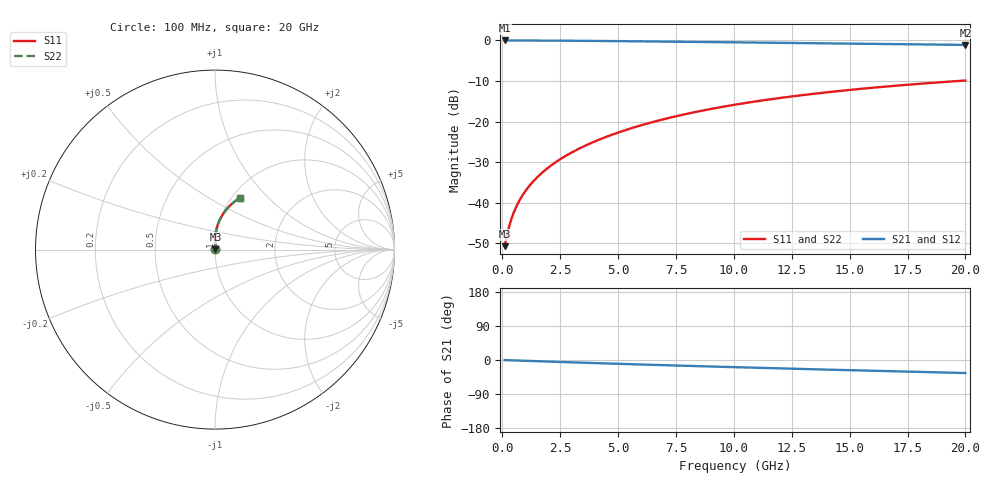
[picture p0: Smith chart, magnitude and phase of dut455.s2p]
! Touchstone file exported from HFSS 2024.1.0
!  File:  C:/UserFiles/LocalFiles/RDL_TSV_Batchsim/temp_RDL_top_455_1779677284.aedt
!  Generated:  10:50:34 AM May 25, 2026
!  Design:  RDL_top
!  Project:  temp_RDL_top_455_1779677284
!  Setup:  Setup1
!  Solution:  Sweep
! Variables:
!  dtsv = 10.80580581um
!  hbump = 3um
!  htsv = 89.49um
!  ldown = 100um
!  lrdl = 450.29um
!  p = 40
!  p1 = 59.46um
!  rhole = 1um
!  t = 450um
!  tdown = 3.915915916um
!  trdl = 2.62um
!  wdown = 15.38538539um
!  wrdl = 28.14um
# GHz S MA R 50.000000
! Terminal data exported
! Port[1] = Box2_T1
! Port[2] = Box2_T2
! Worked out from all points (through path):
!   200 points, 100 MHz to 20 GHz, reference 50 ohm
!   highest |S21| = -0.02 dB at 100 MHz (marker M1); lowest = -1.1 dB at 20 GHz (marker M2)
!   group delay of S21, straight-line fit = 4.72 ps
!   lowest |S11| = -50.7 dB at 100 MHz (marker M3), VSWR 1.01, Z = 50.2 + j0.152 ohm
!   |S11| at or under -10 dB: start of sweep to 19.73 GHz
!   |S22| runs from -50.7 to -9.9 dB; largest |S21 - S12| = 2.6e-15
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0.1  0.00291 31.2  0.9975 -0.2  0.9975 -0.2  0.00291 31.2
! Gamma 0 0 0 0
! Port Impedance 50 0 50 0
0.2  0.00394 49.0  0.9974 -0.4  0.9974 -0.4  0.00394 49.0
0.3  0.005143 58.3  0.9972 -0.7  0.9972 -0.7  0.005143 58.3
0.4  0.006381 63.9  0.997 -0.9  0.997 -0.9  0.006381 63.9
0.5  0.007622 67.7  0.9968 -1.1  0.9968 -1.1  0.007622 67.7
0.6  0.008866 70.6  0.9966 -1.3  0.9966 -1.3  0.008866 70.6
0.8  0.01137 74.7  0.9963 -1.7  0.9963 -1.7  0.01137 74.7
1.1  0.0152 78.8  0.9957 -2.3  0.9957 -2.3  0.0152 78.8
1.3  0.01781 80.7  0.9952 -2.7  0.9952 -2.7  0.01781 80.7
1.6  0.0218 82.7  0.9945 -3.4  0.9945 -3.4  0.0218 82.7
2.1  0.02864 85.1  0.9929 -4.4  0.9929 -4.4  0.02864 85.1
2.7  0.03718 86.8  0.9906 -5.6  0.9906 -5.6  0.03718 86.8
3.5  0.04912 87.9  0.9869 -7.2  0.9869 -7.2  0.04912 87.9
4.2  0.06006 88.3  0.9832 -8.5  0.9832 -8.5  0.06006 88.3
5  0.07308 88.2  0.9786 -10.1  0.9786 -10.1  0.07308 88.2
6.8  0.1038 86.7  0.9672 -13.4  0.9672 -13.4  0.1038 86.7
8.4  0.132 84.4  0.9566 -16.2  0.9566 -16.2  0.132 84.4
10.1  0.1621 81.5  0.9453 -19.0  0.9453 -19.0  0.1621 81.5
11.7  0.19 78.7  0.9346 -21.7  0.9346 -21.7  0.19 78.7
13.4  0.2188 75.6  0.9233 -24.4  0.9233 -24.4  0.2188 75.6
16.7  0.2718 69.8  0.9013 -29.5  0.9013 -29.5  0.2717 69.7
20  0.32 64.2  0.8792 -34.4  0.8792 -34.4  0.32 64.2
